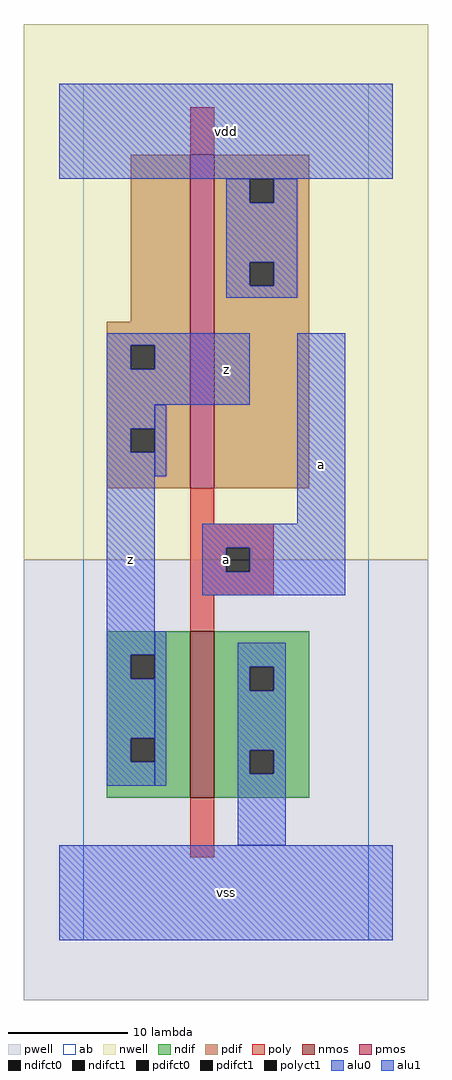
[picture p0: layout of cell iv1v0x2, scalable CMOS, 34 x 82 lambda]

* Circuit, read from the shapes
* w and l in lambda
.subckt iv1v0x2 a vdd vss z
M1 vss a z VSUBS nfet w=14 l=2
M2 vdd a z n1 pfet w=28 l=2
.ends

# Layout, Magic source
magic
tech scmos
<< ab >>
rect 0 0 24 72
<< nwell >>
rect -5 32 29 77
<< pwell >>
rect -5 -5 29 32
<< poly >>
rect 9 66 11 70
rect 9 35 11 38
rect 9 33 16 35
rect 9 31 12 33
rect 14 31 16 33
rect 9 29 16 31
rect 9 26 11 29
rect 9 7 11 12
<< ndif >>
rect 2 24 9 26
rect 2 22 4 24
rect 6 22 9 24
rect 2 17 9 22
rect 2 15 4 17
rect 6 15 9 17
rect 2 12 9 15
rect 11 23 19 26
rect 11 21 14 23
rect 16 21 19 23
rect 11 16 19 21
rect 11 14 14 16
rect 16 14 19 16
rect 11 12 19 14
<< pdif >>
rect 4 52 9 66
rect 2 50 9 52
rect 2 48 4 50
rect 6 48 9 50
rect 2 43 9 48
rect 2 41 4 43
rect 6 41 9 43
rect 2 38 9 41
rect 11 64 19 66
rect 11 62 14 64
rect 16 62 19 64
rect 11 57 19 62
rect 11 55 14 57
rect 16 55 19 57
rect 11 38 19 55
<< alu1 >>
rect -2 64 26 72
rect 2 50 14 51
rect 2 48 4 50
rect 6 48 14 50
rect 2 45 14 48
rect 2 43 6 45
rect 2 41 4 43
rect 2 24 6 41
rect 18 35 22 51
rect 10 33 22 35
rect 10 31 12 33
rect 14 31 22 33
rect 10 29 22 31
rect 2 22 4 24
rect 2 17 6 22
rect 2 15 4 17
rect 2 13 6 15
rect -2 0 26 8
<< nmos >>
rect 9 12 11 26
<< pmos >>
rect 9 38 11 66
<< polyct1 >>
rect 12 31 14 33
<< ndifct0 >>
rect 14 21 16 23
rect 14 14 16 16
<< ndifct1 >>
rect 4 22 6 24
rect 4 15 6 17
<< pdifct0 >>
rect 14 62 16 64
rect 14 55 16 57
<< pdifct1 >>
rect 4 48 6 50
rect 4 41 6 43
<< alu0 >>
rect 12 62 14 64
rect 16 62 18 64
rect 12 57 18 62
rect 12 55 14 57
rect 16 55 18 57
rect 12 54 18 55
rect 6 39 7 45
rect 6 13 7 26
rect 13 23 17 25
rect 13 21 14 23
rect 16 21 17 23
rect 13 16 17 21
rect 13 14 14 16
rect 16 14 17 16
rect 13 8 17 14
<< labels >>
rlabel alu1 4 32 4 32 6 z
rlabel alu1 12 4 12 4 6 vss
rlabel alu1 12 32 12 32 6 a
rlabel alu1 12 48 12 48 6 z
rlabel alu1 12 68 12 68 6 vdd
rlabel alu1 20 40 20 40 6 a
<< end >>
